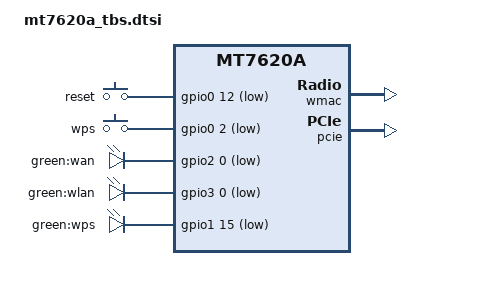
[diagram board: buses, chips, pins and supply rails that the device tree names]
// SPDX-License-Identifier: GPL-2.0-or-later OR MIT

#include "mt7620a.dtsi"

#include <dt-bindings/gpio/gpio.h>
#include <dt-bindings/input/input.h>

/ {
	chosen {
		bootargs = "console=ttyS0,115200";
	};

	keys {
		compatible = "gpio-keys";

		reset {
			label = "reset";
			gpios = <&gpio0 12 GPIO_ACTIVE_LOW>;
			linux,code = <KEY_RESTART>;
		};

		wps {
			label = "wps";
			gpios = <&gpio0 2 GPIO_ACTIVE_LOW>;
			linux,code = <KEY_WPS_BUTTON>;
		};
	};

	leds {
		compatible = "gpio-leds";

		wan {
			label = "green:wan";
			gpios = <&gpio2 0 GPIO_ACTIVE_LOW>;
		};

		wlan {
			label = "green:wlan";
			gpios = <&gpio3 0 GPIO_ACTIVE_LOW>;
			linux,default-trigger = "phy0tpt";
		};

		wps {
			label = "green:wps";
			gpios = <&gpio1 15 GPIO_ACTIVE_LOW>;
		};
	};
};

&gpio1 {
	status = "okay";
};

&gpio2 {
	status = "okay";
};

&gpio3 {
	status = "okay";
};

&state_default {
	gpio {
		groups = "i2c", "uartf", "wled", "ephy", "spi refclk";
		function = "gpio";
	};
};

&ethernet {
	mediatek,portmap = "wllll";
};

&gsw {
	mediatek,port4 = "ephy";
};

&wmac {
	pinctrl-names = "default";
	pinctrl-0 = <&pa_pins>;
};

&pcie {
	status = "okay";
};

&pcie0 {
	mt76@0,0 {
		reg = <0x0000 0 0 0 0>;
		ieee80211-freq-limit = <5000000 6000000>;

		led {
			led-active-low;
		};
	};
};
